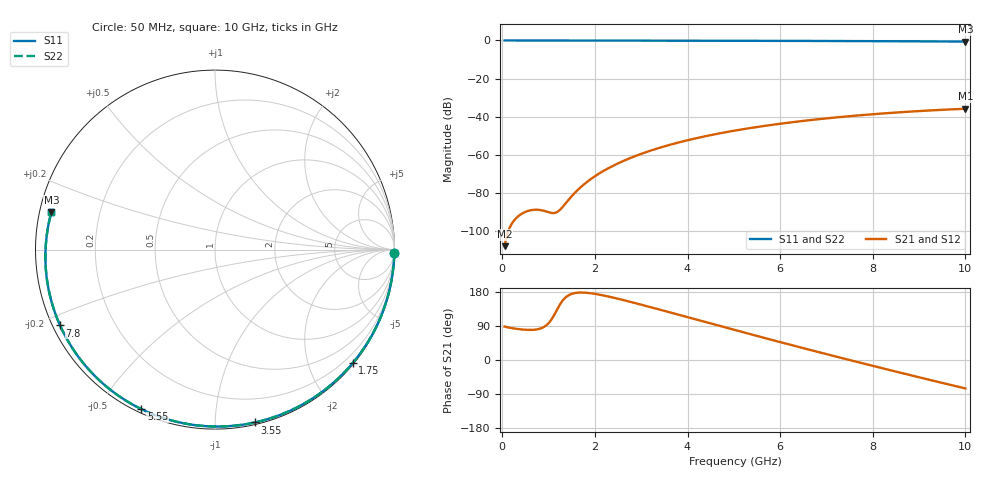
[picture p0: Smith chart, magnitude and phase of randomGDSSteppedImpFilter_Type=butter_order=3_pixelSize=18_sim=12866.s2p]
! freq	dB(S11)	phase(S11)	dB(S12)	phase(S12)
!  dB(S21)	phase(S21)	dB(S22)	phase(S22)
!S-par simulation data
#  GHz  S  DB  R 50
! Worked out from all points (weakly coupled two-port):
!   200 points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, 50 MHz to 10 GHz, reference 50 ohm
!   highest |S21| = -35.87 dB at 10 GHz (marker M1); lowest = -108.0 dB at 50 MHz (marker M2)
!   lowest |S11| = -0.6 dB at 10 GHz (marker M3), VSWR 29.79, Z = 1.7 + j5.65 ohm
!   |S11| at or under -10 dB: nowhere
!   |S22| runs from -0.6 to 0.0 dB; largest |S21 - S12| = 0
!   S11 on the Smith chart (normalised r, x): 50 MHz: open; 1.75 GHz: 0.03, -2.79; 3.55 GHz: 0.02, -1.26; 5.55 GHz: 0.02, -0.64; 7.8 GHz: 0.02, -0.23; 10 GHz: 0.03, +0.11
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0.05  -0.00 -1.1  -108.03 88.3  -108.03 88.3  -0.00 -1.1
0.45  -0.02 -10.3  -90.59 80.3  -90.59 80.3  -0.02 -10.3
0.8  -0.02 -18.3  -88.98 82.2  -88.98 82.2  -0.02 -18.3
1.55  -0.04 -35.0  -80.42 176.2  -80.42 176.2  -0.04 -35.0
1.6  -0.05 -36.1  -79.18 177.3  -79.18 177.3  -0.05 -36.1
1.75  -0.05 -39.4  -75.85 177.9  -75.85 177.9  -0.05 -39.4
2.05  -0.06 -46.0  -70.51 173.5  -70.51 173.5  -0.06 -45.9
2.25  -0.06 -50.2  -67.63 168.6  -67.63 168.6  -0.06 -50.2
2.45  -0.07 -54.5  -65.12 163.1  -65.12 163.1  -0.07 -54.5
2.9  -0.08 -63.9  -60.44 149.2  -60.44 149.2  -0.08 -63.9
3.4  -0.10 -74.1  -56.34 132.9  -56.34 132.9  -0.10 -74.0
3.55  -0.10 -77.1  -55.27 128.0  -55.27 128.0  -0.10 -77.0
4.3  -0.13 -91.7  -50.73 103.0  -50.73 103.0  -0.13 -91.6
5.05  -0.16 -105.7  -47.21 78.2  -47.21 78.2  -0.16 -105.6
5.55  -0.19 -114.8  -45.27 61.8  -45.27 61.8  -0.19 -114.7
6.1  -0.22 -124.5  -43.42 44.0  -43.42 44.0  -0.22 -124.4
6.7  -0.26 -135.0  -41.69 24.9  -41.69 24.9  -0.26 -134.9
7.25  -0.30 -144.5  -40.32 7.7  -40.32 7.7  -0.30 -144.4
7.8  -0.35 -153.9  -39.13 -9.3  -39.13 -9.3  -0.35 -153.8
8.35  -0.40 -163.4  -38.10 -26.1  -38.10 -26.1  -0.40 -163.3
9.2  -0.49 -178.3  -36.80 -51.6  -36.80 -51.6  -0.49 -178.3
10  -0.58 167.1  -35.87 -75.1  -35.87 -75.1  -0.58 167.2
